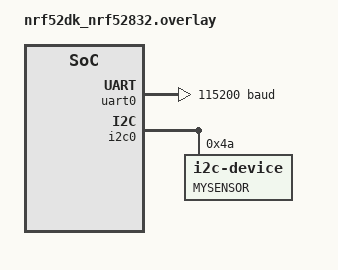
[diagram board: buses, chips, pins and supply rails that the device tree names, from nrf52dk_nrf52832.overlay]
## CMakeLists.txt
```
# SPDX-License-Identifier: Apache-2.0

cmake_minimum_required(VERSION 3.20.0)
find_package(Zephyr REQUIRED HINTS $ENV{ZEPHYR_BASE})
project(button)

target_sources(app PRIVATE src/main.c src/drv_button.c src/drv_led.c src/drv_uart.c)
#target_sources_ifdef(CONFIG_ADDFUNCTION app PRIVATE src/addfunction.c)
```

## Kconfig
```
# add your new libraries here and you can by default leave them disabled
# now you can enable them if needed in prj.conf

source "Kconfig.zephyr"

config ADDFUNCTION
	bool "Enable my function"
	default n
```

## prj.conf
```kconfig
# this file over write default settings given in board default config file.
# Also can use gui based system for kernel to initialize some features.
# Custom added new libraries in Kconfig file can also be enable/disable here.

CONFIG_GPIO=y

CONFIG_ADC=y
CONFIG_ADC_ASYNC=y


#custom library support for learning purpose
CONFIG_ADDFUNCTION=y

# Console support (Commented because by default initialized)
#CONFIG_CONSOLE=y
#CONFIG_UART_CONSOLE=y

#Logging support
CONFIG_LOG=y

# Enable UART for asynchronous communication (DMA) (Commented because by default initialized)
#CONFIG_SERIAL=y
CONFIG_UART_ASYNC_API=y

# Enable timeslicing, size is time in ms, max priority level 0, so threads with less than 0
# priority will not be part of time slicing.
CONFIG_TIMESLICING=y
CONFIG_TIMESLICE_SIZE=10
CONFIG_TIMESLICE_PRIORITY=0

# For running threads
CONFIG_MULTITHREADING=y
```

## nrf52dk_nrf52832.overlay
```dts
// to make changes in DTS file. overlay file overwrite them
// there is a default dts file in build/zephyr/zephyr.dts

&uart0 {
	current-speed = <115200>;
};


// Here check how many i2c you have in device tree file of your
// board and then choose right one, whereever you want to connect
// sensor too. Here our i2c slave that we want to connect to 
// our board is 0x4a. 
&i2c0 {
    mysensor: mysensor@4a{
        compatible = "i2c-device";
        reg = < 0x4a >;
        label = "MYSENSOR";
    };
};
```

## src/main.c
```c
/**
 * This application is created for learning purpose of 
 * Zephyr RTOS on nrf52. nRF52 DK board is used for this
 * project but most of the nRF boards should work seamlessly
 * with this project.
 * 
 * Flow of Application:
 * 
 * 1. Switch 0 is used to turn on 3 onboard LEDs sequentially.
 * 2. Switch 1 is used to turn off 3 onboard LEDs sequentially.
 * 3. Push button works with interrupt and fill up Queue.
 * 4. Queue is continuosly read by a thread in led file, and it 
 *    turns on/off leds accordingly.
 * 5. Semaphore is used to synchronize both push buttons ISRs and thread.
 * 6. Mutex is used for common variables between multiple thread.
 * 
 */

#include <zephyr/kernel.h>
#include <zephyr/device.h>
#include <zephyr/drivers/gpio.h>
#include <zephyr/sys/util.h>
#include <zephyr/sys/printk.h>
#include <inttypes.h>

/** Included from SDK */
#include <zephyr/logging/log.h>
#include <zephyr/drivers/uart.h>

/** Custom libraries */
#include "thread_common.h"
#include "drv_button.h"
#include "drv_led.h"
#include "drv_uart.h"

#define SLEEP_TIME_MS	100000
LOG_MODULE_REGISTER(button_tutorial, LOG_LEVEL_DBG);

/*********************** Button Initialization *********************/
/*
 * Get button configuration from the devicetree sw0 alias. This is mandatory.
 */
#define SW0_NODE	DT_ALIAS(sw0)
#define SW1_NODE	DT_ALIAS(sw1)
#if !DT_NODE_HAS_STATUS(SW0_NODE, okay)
#error "Unsupported board: sw0 devicetree alias is not defined"
#endif

#if !DT_NODE_HAS_STATUS(SW1_NODE, okay)
#error "Unsupported board: sw0 devicetree alias is not defined"
#endif

const struct gpio_dt_spec button0 = GPIO_DT_SPEC_GET_OR(SW0_NODE, gpios, {0});
const struct gpio_dt_spec button1 = GPIO_DT_SPEC_GET_OR(SW1_NODE, gpios, {0});

struct gpio_callback button_cb_data_0;
struct gpio_callback button_cb_data_1;

/*********************** LED Initialization ***********************/
/**
 * The led0 devicetree alias is converted to node ID and converted
 * to Device pointer.
 */
struct gpio_dt_spec dt_led0 = GPIO_DT_SPEC_GET_OR(DT_ALIAS(led0), gpios, {0});
struct gpio_dt_spec dt_led1 = GPIO_DT_SPEC_GET_OR(DT_ALIAS(led1), gpios, {0});
struct gpio_dt_spec dt_led2 = GPIO_DT_SPEC_GET_OR(DT_ALIAS(led2), gpios, {0});

/************************** UART **************************/
static uint8_t tx_buf[] =  {"\n\r-------->Sup from nRF!<--------- \n\r"
                            "Press Switch 0 to turn on LED1-LED3  \n\r"
							"Press Switch 1 to turn off LED1-LED3 \n\r"};

int main(void)
{
	int ret;

	LOG_INF("Going to initialize push button 0");
 	ret = drv_button_exti_init(&button0, &button_cb_data_0, button_pressed_0);
	if(!ret)
	{
		LOG_ERR("Push button 0 initialization failed");
	}

	LOG_INF("Going to initialize push button 1");
 	ret = drv_button_exti_init(&button1, &button_cb_data_1, button_pressed_1);
	if(!ret)
	{
		LOG_ERR("Push button 1 initialization failed");
	}

	LOG_INF("Going to initialize LED");
	ret = drv_led_init(&dt_led0);
	if(!ret)
	{
		LOG_ERR("led0 initialization failed");
	}
	
	ret = drv_led_init(&dt_led1);
	if(!ret)
	{
		LOG_ERR("led1 initialization failed");
	}
	
	ret = drv_led_init(&dt_led2);
	if(!ret)
	{
		LOG_ERR("led2 initialization failed");
	}

    // Default settings
    struct uart_config uart_cfg = {
		.baudrate = 115200,
		.parity = UART_CFG_PARITY_NONE,
		.stop_bits = UART_CFG_STOP_BITS_1,
		.data_bits = UART_CFG_DATA_BITS_8,
		.flow_ctrl = UART_CFG_FLOW_CTRL_NONE
	};

	ret = drv_uart_init(&uart_cfg);
	if(!ret)
	{
		LOG_ERR("UART initialization failed");
	}
	
	// Not required, just some delay before printing on console
	k_msleep(500);
	
#if 1
	drv_uart_tx(tx_buf, sizeof(tx_buf));
#endif

	while (1) {
		k_msleep(SLEEP_TIME_MS);
	}
	return 0;
}
```

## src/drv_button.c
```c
#include <zephyr/logging/log.h>

#include "thread_common.h"
#include "drv_button.h"
#include "drv_led.h"

LOG_MODULE_REGISTER(drv_button, LOG_LEVEL_DBG);
typedef enum {
	maxLedOn0 = 0,
	maxLedOn1,
	maxLedOn2,
	maxLedOn3,
	maxLedAvailable
}eLedState;

K_SEM_DEFINE(sem_button_0, 0, 1);
K_SEM_DEFINE(sem_button_1, 0, 1);
K_MUTEX_DEFINE(button_mutex);

st_queue_led_data gst_queue_data = {0};
static int8_t gu8_led_num = 0;

void button_pressed_0(const struct device *dev, struct gpio_callback *cb, uint32_t pins)
{
	k_sem_give(&sem_button_0);
}

void button_pressed_1(const struct device *dev, struct gpio_callback *cb, uint32_t pins)
{
	k_sem_give(&sem_button_1);
}

/**
 * Initialize the button number passed into argument
*/
int drv_button_exti_init(const struct gpio_dt_spec* button, 
					struct gpio_callback* button_cb_data, 
					button_pressed_fp button_pressed_cb_fp)
{
    int ret = 1;

    /** Check if button pin is supported in device tree*/
	if (!gpio_is_ready_dt(button)) {
		printk("Error: button device %s is not ready\n",
		       button->port->name);
		return 0;
	}

    /** Configure the button for input */
	ret = gpio_pin_configure_dt(button, GPIO_INPUT);
	if (ret != 0) {
		printk("Error %d: failed to configure %s pin %d\n",
		       ret, button->port->name, button->pin);
		return 0;
	}

    /** Configure the button pin for interrupt with edge to high */
	ret = gpio_pin_interrupt_configure_dt(button,
					      GPIO_INT_EDGE_TO_ACTIVE);
	if (ret != 0) {
		printk("Error %d: failed to configure interrupt on %s pin %d\n",
			ret, button->port->name, button->pin);
		return 0;
	}

    /** Initialize callback with button_pressed function passed to it */
	gpio_init_callback(button_cb_data, button_pressed_cb_fp, BIT(button->pin));

    /** Add into callback */
	gpio_add_callback(button->port, button_cb_data);
	
	// No leds on initially
	gst_queue_data.led_state = 0;

    /** Print back that button initialization is successful */
    printk("Set up button at %s pin %d\n", button->port->name, button->pin);


    return 1;
}

/**
 * To turn on on board LEDs, one at a time.
*/
void thread_button0(void)
{
	printk("Going to run thread 0");

    while (1) {
		k_sem_take(&sem_button_0, K_FOREVER);
		LOG_INF("Button 0 pressed at %" PRIu32 "\n", k_cycle_get_32());
		k_mutex_lock(&button_mutex, K_FOREVER);
		gu8_led_num++;
		if(gu8_led_num < maxLedAvailable)
		{
			switch(gu8_led_num)
			{
				case maxLedOn1:
					// Send message to queue to turn on led 0;
					gst_queue_data.led_state = maxLedOn1;
					break;

				case maxLedOn2:
					gst_queue_data.led_state = maxLedOn2;
					break;

				case maxLedOn3:
					gst_queue_data.led_state = maxLedOn3;
					break;

				default:
					// print maybe cant turn on no more leds	 
			}

			drv_led_q_send_message(&gst_queue_data);
		}
		else if (gu8_led_num > maxLedOn3)
		{
			gu8_led_num = maxLedOn3;
			//TODO: Print to workqueue thread
		}

		k_mutex_unlock(&button_mutex);
		k_msleep(20);
    }   

}

/**
 * To turn off on board LEDs, one at a time.
*/
void thread_button1(void)
{
    while (1) {
		k_sem_take(&sem_button_1, K_FOREVER);
		LOG_INF("Button 1 pressed at %" PRIu32 "\n", k_cycle_get_32());		
		k_mutex_lock(&button_mutex, K_FOREVER);
		gu8_led_num--;
		if(gu8_led_num >= 0 && gu8_led_num < maxLedAvailable)
		{
			switch(gu8_led_num)
			{
				case maxLedOn0:
					// Send message to queue to turn on led 0;
					gst_queue_data.led_state = maxLedOn0;
					break;

				case maxLedOn1:
					gst_queue_data.led_state = maxLedOn1;
					break;

				case maxLedOn2:
					gst_queue_data.led_state = maxLedOn2;
					break;

				default:
					// print maybe cant turn on no more leds	 
			}
			// send message to queue
			drv_led_q_send_message(&gst_queue_data);
		}
		else if (gu8_led_num < 0)
		{
			gu8_led_num = maxLedOn0;
			// TODO: print to workqueue thread
		}
		k_mutex_unlock(&button_mutex);
        k_msleep(20);
    } 
}

// has to be after threads defined
K_THREAD_DEFINE(thread0_id, BUTTON0_STACKSIZE, thread_button0, NULL, NULL, NULL, BUTTON0_PRIORITY, 0, 0);
K_THREAD_DEFINE(thread1_id, BUTTON1_STACKSIZE, thread_button1, NULL, NULL, NULL, BUTTON1_PRIORITY, 0, 0);
```

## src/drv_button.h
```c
#include <zephyr/kernel.h>
#include <zephyr/device.h>
#include <zephyr/drivers/gpio.h>
#include <zephyr/sys/util.h>
#include <zephyr/sys/printk.h>
#include <inttypes.h>


typedef void (*button_pressed_fp)(const struct device*, struct gpio_callback*, uint32_t );

void button_pressed_0(const struct device *dev, struct gpio_callback *cb, uint32_t pins);
void button_pressed_1(const struct device *dev, struct gpio_callback *cb, uint32_t pins);

int drv_button_exti_init(const struct gpio_dt_spec* button, 
					struct gpio_callback* button_cb_data, 
					button_pressed_fp button_pressed_cb_fp);
```

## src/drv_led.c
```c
#include <string.h>
#include "thread_common.h"
#include "drv_led.h"

typedef enum {
	maxLedOn0 = 0,
	maxLedOn1,
	maxLedOn2,
	maxLedOn3,
	ledStateMax
}eLedState;

struct gpio_dt_spec gdt_led0 = {0};
struct gpio_dt_spec gdt_led1 = {0};
struct gpio_dt_spec gdt_led2 = {0};

struct k_msgq led_MsgQ;
K_MSGQ_DEFINE(led_MsgQ, sizeof(st_queue_led_data), 10, 4);


/**
 * Pass gpio_dt_spec structure to initialize
*/
int drv_led_init(struct gpio_dt_spec* led)
{
    int ret = 0;

    if (led->port && !device_is_ready(led->port)) {
        printk("Error %d: LED device %s is not ready; ignoring it\n",
                ret, led->port->name);
        led->port = NULL;
    }

    if (led->port) {
        ret = gpio_pin_configure_dt(led, GPIO_OUTPUT);
        if (ret != 0) {
            printk("Error %d: failed to configure LED device %s pin %d\n",
                    ret, led->port->name, led->pin);
            led->port = NULL;
        } else {
            printk("Set up LED at %s pin %d\n", led->port->name, led->pin);
        }
    }

    // Initialize local structures
    if(led->pin == LED1_PIN)
    {
        memcpy(&gdt_led0, led, sizeof(struct gpio_dt_spec));
        drv_led_reset(LED1_PIN);
    }
    else if(led->pin == LED2_PIN)
    {
        memcpy(&gdt_led1, led, sizeof(struct gpio_dt_spec));
        drv_led_reset(LED2_PIN);
    }
    else if(led->pin == LED3_PIN)
    {
        memcpy(&gdt_led2, led, sizeof(struct gpio_dt_spec));
        drv_led_reset(LED3_PIN);
    }
    
    return 1;
}

int drv_led_set(int pinNum)
{
    if(pinNum == LED1_PIN)
    {
        gpio_pin_set_dt(&gdt_led0, 1);
    }
    else if(pinNum == LED2_PIN)
    {
        gpio_pin_set_dt(&gdt_led1, 1);
    }
    else if(pinNum == LED3_PIN)
    {
        gpio_pin_set_dt(&gdt_led2, 1);
    }

    return 1;

}
int drv_led_reset(int pinNum)
{
    if(pinNum == LED1_PIN)
    {
        gpio_pin_set_dt(&gdt_led0, 0);
    }
    else if(pinNum == LED2_PIN)
    {
        gpio_pin_set_dt(&gdt_led1, 0);
    }
    else if(pinNum == LED3_PIN)
    {
        gpio_pin_set_dt(&gdt_led2, 0);
    }
    return 1;
}

void drv_led_q_send_message(st_queue_led_data* pstQLedData)
{
    k_msgq_put(&led_MsgQ, pstQLedData, K_FOREVER);
}

void thread_led(void)
{
    st_queue_led_data ledDataQueue = {0};
    
    ledDataQueue.led_state = maxLedOn0; // No led on by default
    while (1) {
        
        /* get a data item */
        k_msgq_get(&led_MsgQ, &ledDataQueue, K_FOREVER);

        switch(ledDataQueue.led_state)
        {
            case maxLedOn0:
                gpio_pin_set_dt(&gdt_led0, 0);
                gpio_pin_set_dt(&gdt_led1, 0);
                gpio_pin_set_dt(&gdt_led2, 0);   
            break;

            case maxLedOn1:
                gpio_pin_set_dt(&gdt_led0, 1);
                gpio_pin_set_dt(&gdt_led1, 0);
                gpio_pin_set_dt(&gdt_led2, 0);
            break;

            case maxLedOn2:
                gpio_pin_set_dt(&gdt_led0, 1);
                gpio_pin_set_dt(&gdt_led1, 1);
                gpio_pin_set_dt(&gdt_led2, 0);
            break;

            case maxLedOn3:
                gpio_pin_set_dt(&gdt_led0, 1);
                gpio_pin_set_dt(&gdt_led1, 1);
                gpio_pin_set_dt(&gdt_led2, 1);
            break;
        }

        k_msleep(10);
    }

}

// has to be after threads defined
K_THREAD_DEFINE(ledThread_id, LED_STACKSIZE, thread_led, NULL, NULL, NULL, LED_PRIORITY, 0, 0);
```

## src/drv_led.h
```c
#include <zephyr/kernel.h>
#include <zephyr/drivers/gpio.h>


#define LED1_PIN    17
#define LED2_PIN    18
#define LED3_PIN    19

typedef struct
{
	uint16_t led_state;
} __attribute__((aligned(4))) st_queue_led_data;

int drv_led_init(struct gpio_dt_spec* led);
int drv_led_set(int pinNum);
int drv_led_reset(int pinNum);
void drv_led_q_send_message(st_queue_led_data* pstQLedData);
```

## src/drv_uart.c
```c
#include <zephyr/logging/log.h>
#include "drv_uart.h"

LOG_MODULE_REGISTER(DRV_UART, LOG_LEVEL_DBG);
static uint8_t rx_buf[10] = {0}; //A buffer to store incoming UART data
struct device *uart  = NULL;

static void uart_cb(const struct device *dev, struct uart_event *evt, void *user_data)
{
	switch (evt->type) {
	case UART_TX_DONE:
        LOG_INF("UART Data transmitted succesfully!");
		break;

	case UART_TX_ABORTED:
		// do something
		break;
	case UART_RX_RDY:
        if((evt->data.rx.len) == 1)
        {
            if(evt->data.rx.buf[evt->data.rx.offset] == '1'){
                LOG_INF("0 received over UART");
            }
            else if (evt->data.rx.buf[evt->data.rx.offset] == '2'){
                LOG_INF("1 received over UART");
            }
            else if (evt->data.rx.buf[evt->data.rx.offset] == '3'){
                LOG_INF("2 received over UART");					
            }
        }
		break;
	case UART_RX_BUF_REQUEST:
		// do something
		break;
	case UART_RX_BUF_RELEASED:
		// do something
		break;
    
    case UART_RX_DISABLED:
	    uart_rx_enable(uart, rx_buf, sizeof(rx_buf), 100);
	    break;
	case UART_RX_STOPPED:
		// do something
		break;
	default:
		break;
	}
}

/**
 * Initialize UART in DMA mode to receive and transmit data.
*/
int drv_uart_init(struct uart_config* pst_uart_cfg)
{
    uart = DEVICE_DT_GET(DT_NODELABEL(uart0));
    if (!device_is_ready(uart)) {
        return 0;
    }
   
    int err = uart_configure(uart, pst_uart_cfg);
	if (err == -ENOSYS) {
		return -ENOSYS;
	}

    // set callback for receiving UART data over DMA
    err = uart_callback_set(uart, uart_cb, NULL);
		if (err) {
			return err;
		}

    // below call is just to initialize receiving of UART data
    // 100 micro seconds here means that event UART_RX_READY is generated 
    // after 100 micro seconds of inactivity after receving data.
    uart_rx_enable(uart ,rx_buf,sizeof(rx_buf),100);
    return 1;
}

/**
 * Transmit data over UART
*/
int drv_uart_tx(char* data, int size)
{
    int err = uart_tx(uart, data, size, SYS_FOREVER_US);
	if (err) {
		return err;
	}
    return 1;
}
```

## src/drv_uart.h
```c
#if 0
#include <zephyr/kernel.h>
#include <zephyr/device.h>
#include <zephyr/drivers/gpio.h>
#include <zephyr/sys/util.h>
#include <zephyr/sys/printk.h>
#include <inttypes.h>
#endif

#include <zephyr/drivers/uart.h>

int drv_uart_init(struct uart_config* pst_uart_cfg);
int drv_uart_tx(char* data, int size);
```

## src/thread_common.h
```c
// Stack size of different tasks
#define LED_STACKSIZE                1024
#define BUTTON0_STACKSIZE            1024
#define BUTTON1_STACKSIZE            1024
#define WORQ_THREAD_STACK_SIZE       1024


// Priorities of different tasks
#define LED_PRIORITY                 3
#define BUTTON0_PRIORITY             4
#define BUTTON1_PRIORITY             4   
#define WORKQ_PRIORITY               6
```
